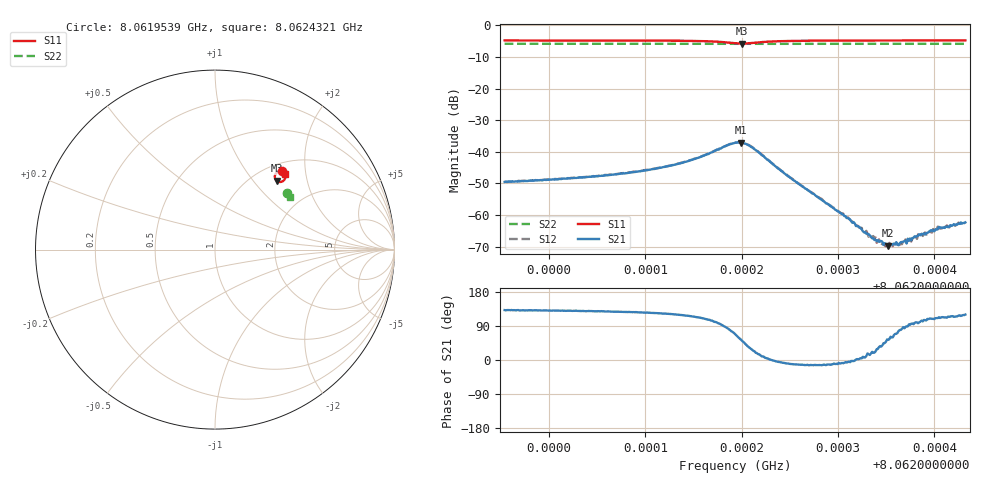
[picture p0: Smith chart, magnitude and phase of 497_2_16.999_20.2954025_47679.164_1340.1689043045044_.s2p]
#  HZ  S  RI  R  50.00
! Rohde & Schwarz Vector Network Analyzer
! Rohde-Schwarz,ZNB20-2Port,1311601062101988,3.16
! Created: UTC 3/20/2024, 11:14:20 PM
! freq[Hz]  re:S11  im:S11  re:S21  im:S21  re:S12  im:S12  re:S22  im:S22
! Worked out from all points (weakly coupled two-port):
!   401 points, 8.0619539 GHz to 8.0624321 GHz, reference 50 ohm
!   highest |S21| = -37.05 dB at 8.062199 GHz (marker M1); lowest = -69.7 dB at 8.062352 GHz (marker M2)
!   lowest |S11| = -5.8 dB at 8.0622002 GHz (marker M3), VSWR 3.12, Z = 63.5 + j66.3 ohm
!   |S11| at or under -10 dB: nowhere
!   |S22| runs from -5.9 to -5.8 dB; largest |S21 - S12| = 0.001
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8.06195389e9  0.374 0.4382  -0.00222 0.0025  -0.00212 0.00265  0.4022 0.3141
8.062034e9  0.3802 0.4322  -0.00248 0.00304  -0.00234 0.00319  0.4051 0.31
8.06208063e9  0.3843 0.4272  -0.00276 0.00369  -0.00258 0.00389  0.4069 0.3076
8.0621141e9  0.388 0.4219  -0.00304 0.00464  -0.00275 0.00487  0.4082 0.3057
8.06214997e9  0.3917 0.4099  -0.00319 0.00695  -0.00277 0.00718  0.4093 0.3035
8.06219302e9  0.3601 0.3768  0.00513 0.0129  0.00605 0.0126  0.4089 0.3002
8.06219899e9  0.346 0.3817  0.00825 0.0114  0.00883 0.0109  0.4086 0.3004
8.06220019e9  0.3433 0.3837  0.00878 0.0108  0.0094 0.0105  0.4085 0.3005
8.06221214e9  0.3333 0.4098  0.0104 0.00468  0.0107 0.00409  0.4089 0.3012
8.06224562e9  0.359 0.4355  0.00435 -0.000669  0.00438 -0.000932  0.4113 0.3004
8.06227312e9  0.3705 0.4347  0.00214 -0.000512  0.00215 -0.000641  0.4128 0.299
8.06231019e9  0.3784 0.4318  0.000895 -8.25e-05  0.000897 -0.000206  0.4143 0.2969
8.06233769e9  0.3822 0.4296  0.000382 0.000133  0.0004 0.000146  0.4155 0.2955
8.06234606e9  0.3833 0.429  0.000292 0.000236  0.000293 0.0002  0.4157 0.2949
8.06235203e9  0.3839 0.4287  0.000197 0.000264  0.000217 0.000249  0.4159 0.2946
8.06235323e9  0.384 0.4285  0.000199 0.000286  0.000249 0.000265  0.416 0.2945
8.06236638e9  0.3854 0.4277  4.98e-05 0.000373  0.000101 0.000333  0.4165 0.294
8.06237236e9  0.3858 0.4271  1.01e-05 0.000423  1e-05 0.000439  0.4167 0.2935
8.06238192e9  0.3868 0.4265  -7.22e-05 0.000459  -4.81e-05 0.000418  0.4169 0.2932
8.06240105e9  0.3883 0.4252  -0.000208 0.00056  -0.000167 0.000555  0.4176 0.2921
8.06240703e9  0.389 0.4248  -0.000245 0.00059  -0.000185 0.000584  0.4181 0.2917
8.06243214e9  0.391 0.4233  -0.000382 0.000666  -0.00029 0.000679  0.4189 0.2904
